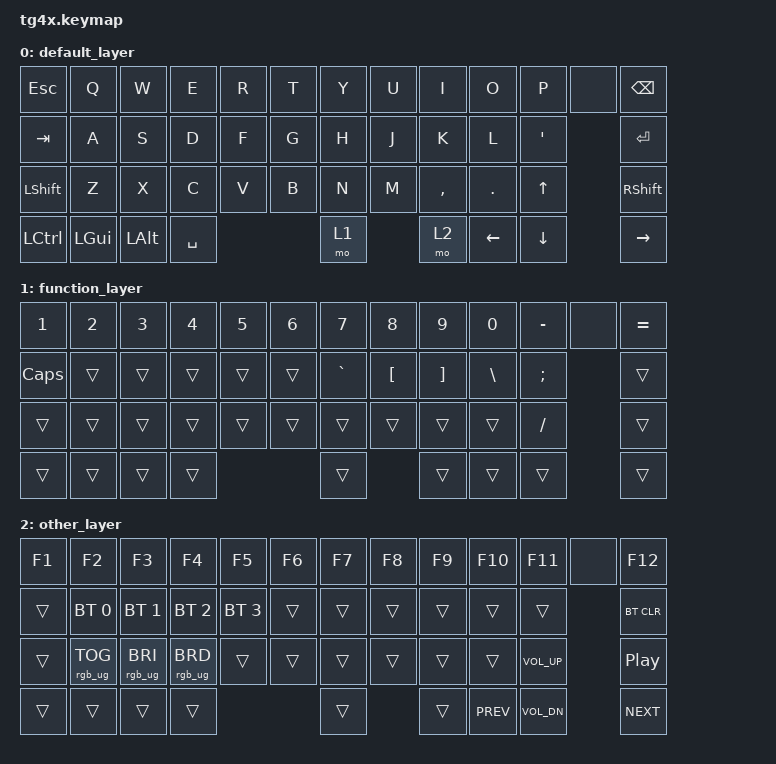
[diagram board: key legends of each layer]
/*
 * Copyright (c) 2020 The ZMK Contributors
 *
 * SPDX-License-Identifier: MIT
 */


#include <../boards/shields/tg4x/boards/nice_nano.overlay>
#include <dt-bindings/zmk/matrix_transform.h>
#include <dt-bindings/zmk/rgb.h>


/ {
	default_transform: keymap_transform_0 {
		compatible = "zmk,matrix-transform";
		rows = <8>;
		columns = <7>;
        //    1     2     3     4     5     6     7     8     9    10    11      12
	// ├───-─┬──-──┬──-──┬──-──┬──-──┬──-──┌──-──┬──-──┬──-──┬──-──┬──-──┬──-──——-—─┬
	// │ESC  │  Q  │  W  │  E  │  R  │  T  │  Y  │  U  │  I  │  O  │  P  │  BSPC    │
	// ├─────┴-─┬──┴──┬—-┴──┬──┴──┬──┴──┬──└—-┬─-┴─—┬-—┴──┬—-┴-─┬─-┴──┬─-┴──┬─—-─--─┤
	// │TAB     │  A  │  S  │  D  │  F  │  G  │  H  │  J  │  K  │  L  │  '  │ENTER  │      
	// ├────────┴┬-──-┴┬─-─-┴┬-─-─┴┬─—-─┴┬─-─-┴┬─——-┴┬──—-┴┬──—-┴┬─—-─┴┬─—-─┴┬────-─┤
	// │LSHFT    │  Z  │  X  │ C   │  V  │  B  │ N   │  M  │  ,  │  .  │  UP │Shift │ 
	// ├──────-┬─┴-─-—┬┴─────┬────-┴────-┴────┬┴─-───┴──——-┴-─——-┴┬───-┴┬───-┴┬───-─┤
	// │LCTRL  │L_GUI │L_ALT │1 SPC           │2 SPC       │R_CTR │LEFT │DOWN │RIGHT│
	// └────-──┴──────┴─-────┴────-───────—-──┴─────—────-─┴───—-─┴───-─┴──—-─┴─────┴
	//    1        2      3           4              5         6     7     8     9


           		map = <
RC(0,0) RC(0,1) RC(0,2) RC(0,3) RC(0,4) RC(0,5) RC(0,6) RC(4,0) RC(4,1) RC(4,2) RC(4,3) RC(4,4) RC(4,5)
RC(1,0) RC(1,1) RC(1,2) RC(1,3) RC(1,4) RC(1,5) RC(1,6) RC(5,0) RC(5,1) RC(5,2) RC(5,3)         RC(5,4)
RC(2,0)         RC(2,1) RC(2,2) RC(2,3) RC(2,4) RC(2,5) RC(2,6) RC(6,0) RC(6,1) RC(6,2) RC(6,3) RC(6,4)
RC(3,0) RC(3,1) RC(3,2) RC(3,4)                                 RC(3,5) RC(7,1) RC(7,2) RC(7,3) RC(7,4)
		>;
	};

	chosen {
		zmk,kscan = &kscan0;
		zmk,matrix_transform = &default_transform;
	};
};

#include <behaviors.dtsi>
#include <dt-bindings/zmk/keys.h>
#include <dt-bindings/zmk/bt.h>



/ {
	behaviors {
		ht: hold_tap {
			compatible = "zmk,behavior-hold-tap";
			label = "Hold Tap";
			#binding-cells = <2>;
			tapping-term-ms = <200>;
			flavor = "tap-preferred";
			bindings = <&kp>, <&kp>;
		};
	};
        //    1     2     3     4     5     6     7     8     9    10    11      12
	// ├───-─┬──-──┬──-──┬──-──┬──-──┬──-──┌──-──┬──-──┬──-──┬──-──┬──-──┬──-──——-—─┬
	// │ESC  │  Q  │  W  │  E  │  R  │  T  │  Y  │  U  │  I  │  O  │  P  │  BSPC    │
	// ├─────┴-─┬──┴──┬—-┴──┬──┴──┬──┴──┬──└—-┬─-┴─—┬-—┴──┬—-┴-─┬─-┴──┬─-┴──┬─—-─--─┤
	// │TAB     │  A  │  S  │  D  │  F  │  G  │  H  │  J  │  K  │  L  │  '  │ENTER  │      
	// ├────────┴┬-──-┴┬─-─-┴┬-─-─┴┬─—-─┴┬─-─-┴┬─——-┴┬──—-┴┬──—-┴┬─—-─┴┬─—-─┴┬────-─┤
	// │LSHFT    │  Z  │  X  │ C   │  V  │  B  │ N   │  M  │  ,  │  .  │  UP │Shift │ 
	// ├──────-┬─┴-─-—┬┴─────┬────-┴────-┴────┬┴─-───┴──——-┴-─——-┴┬───-┴┬───-┴┬───-─┤
	// │LCTRL  │L_GUI │L_ALT │1 SPC           │2 SPC       │R_CTR │LEFT │DOWN │RIGHT│
	// └────-──┴──────┴─-────┴────-───────—-──┴─────—────-─┴───—-─┴───-─┴──—-─┴─────┴
	//    1        2      3           4              5         6     7     8     9
	keymap {
		compatible = "zmk,keymap";

		default_layer {
			bindings = <
&kp ESC   &kp Q    &kp W    &kp E     &kp R &kp T &kp Y &kp U &kp I     &kp O    &kp P &none &kp BSPC
&kp TAB   &kp A    &kp S    &kp D     &kp F &kp G &kp H &kp J &kp K     &kp L    &kp APOS    &kp RET
&kp LSHFT &kp Z    &kp X    &kp C     &kp V &kp B &kp N &kp M &kp COMMA &kp DOT  &kp UP      &kp RSHFT
&kp LCTRL &kp LGUI &kp LALT &kp SPACE             &mo 1       &mo 2     &kp LEFT &kp DOWN    &kp RIGHT
			>;
		};

		function_layer {
			bindings = <
&kp N1       &kp N2 &kp N3 &kp N4 &kp N5 &kp N6 &kp N7    &kp N8   &kp N9   &kp N0   &kp MINUS &none &kp EQUAL
&kp CAPSLOCK &trans &trans &trans &trans &trans &kp GRAVE &kp LBKT &kp RBKT &kp BSLH &kp SEMI        &trans
&trans       &trans &trans &trans &trans &trans &trans    &trans   &trans   &trans   &kp SLASH       &trans
&trans       &trans &trans &trans               &trans             &trans   &trans   &trans          &trans
			>;
		};

		other_layer {
			bindings = <
&kp F1 &kp F2          &kp F3          &kp F4          &kp F5       &kp F6  &kp F7 &kp F8 &kp F9 &kp F10    &kp F11 &none &kp F12
&trans    &bt BT_SEL 0 &bt BT_SEL 1    &bt BT_SEL 2    &bt BT_SEL 3 &trans  &trans &trans &trans &trans     &trans        &bt BT_CLR
&trans &rgb_ug RGB_TOG &rgb_ug RGB_BRI &rgb_ug RGB_BRD &trans       &trans  &trans &trans &trans &trans     &kp C_VOL_UP  &kp C_PP
&trans &trans          &trans          &trans                               &trans        &trans &kp C_PREV &kp C_VOL_DN  &kp C_NEXT
			>;
		};

	};
};
